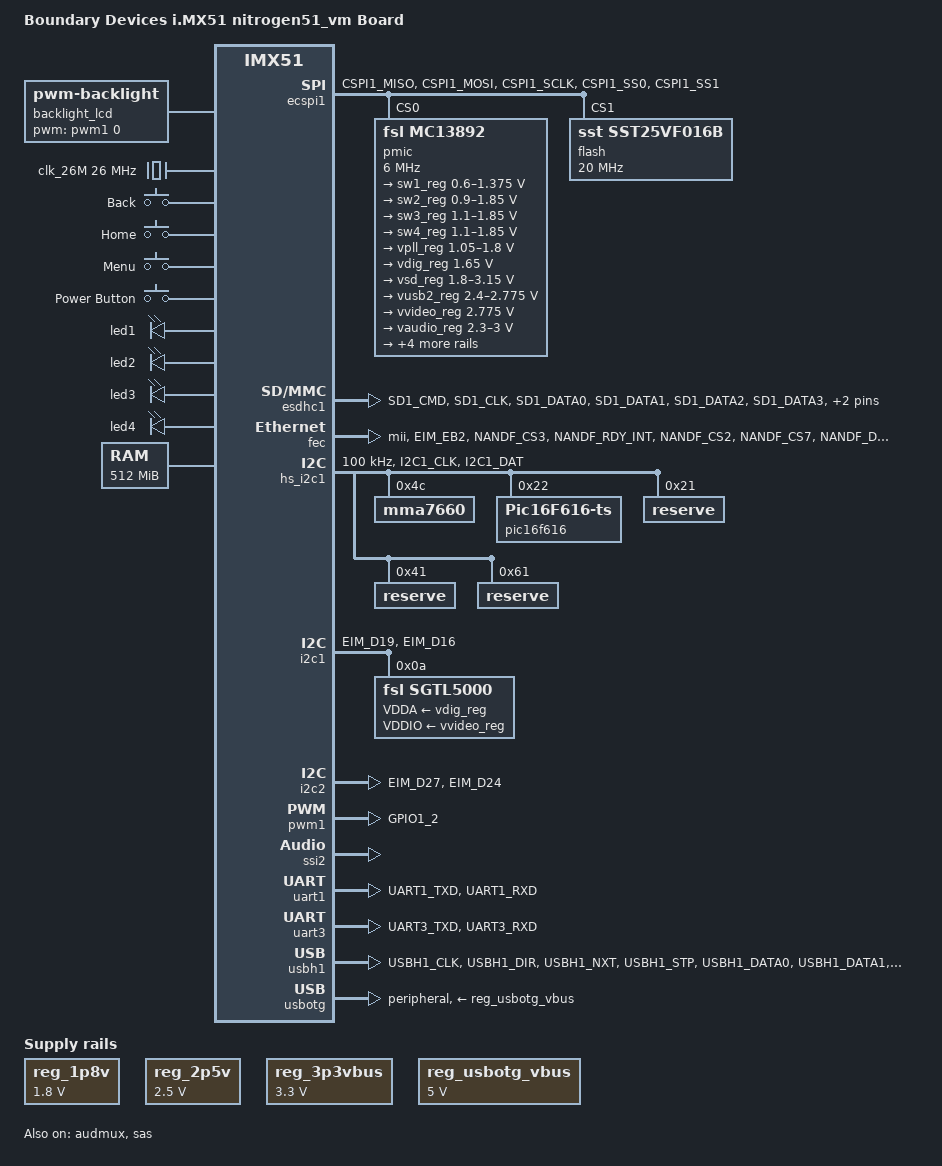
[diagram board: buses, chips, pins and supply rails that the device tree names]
/*
 * Copyright 2016 Boundary Devices
 *
 * The code contained herein is licensed under the GNU General Public
 * License. You may obtain a copy of the GNU General Public License
 * Version 2 or later at the following locations:
 *
 * http://www.opensource.org/licenses/gpl-license.html
 * http://www.gnu.org/copyleft/gpl.html
 */

/dts-v1/;
#include "imx51.dtsi"
#include <dt-bindings/clock/imx5-clock.h>
#include <dt-bindings/gpio/gpio.h>
#include <dt-bindings/input/input.h>
#include <dt-bindings/interrupt-controller/irq.h>

&iomuxc {
	pinctrl-names = "default";
	pinctrl-0 = <&pinctrl_hog>;

	iomuxc_imx6q_nitrogen51_vm: iomuxc-imx6q-nitrogen51-vmgrp {
		status = "okay";
	};
};

&iomuxc_imx6q_nitrogen51_vm {
	pinctrl_audmux: audmuxgrp {
		fsl,pins = <
			MX51_PAD_AUD3_BB_TXD__AUD3_TXD		0xa5
			MX51_PAD_AUD3_BB_RXD__AUD3_RXD		0xa5
			MX51_PAD_AUD3_BB_CK__AUD3_TXC		0xa5
			MX51_PAD_AUD3_BB_FS__AUD3_TXFS		0xa5
		>;
	};

	pinctrl_ecspi1: ecspi1grp {
		fsl,pins = <
			MX51_PAD_CSPI1_MISO__ECSPI1_MISO	0x185
			MX51_PAD_CSPI1_MOSI__ECSPI1_MOSI	0x185
			MX51_PAD_CSPI1_SCLK__ECSPI1_SCLK	0x185
#define GP_ECSPI1_PMIC		<&gpio4 24 GPIO_ACTIVE_HIGH>
			MX51_PAD_CSPI1_SS0__GPIO4_24		0xe5
#define GP_ECSPI1_FLASH		<&gpio4 25 GPIO_ACTIVE_LOW>
			MX51_PAD_CSPI1_SS1__GPIO4_25		0xe5
		>;
	};

	pinctrl_esdhc1: esdhc1grp {
		fsl,pins = <
			MX51_PAD_SD1_CMD__SD1_CMD		0x400020d5
			MX51_PAD_SD1_CLK__SD1_CLK		0x20d5
			MX51_PAD_SD1_DATA0__SD1_DATA0		0x20d5
			MX51_PAD_SD1_DATA1__SD1_DATA1		0x20d5
			MX51_PAD_SD1_DATA2__SD1_DATA2		0x20d5
			MX51_PAD_SD1_DATA3__SD1_DATA3		0x20d5
#define GP_ESDHC1_CD		<&gpio1 0 GPIO_ACTIVE_LOW>
			MX51_PAD_GPIO1_0__GPIO1_0		0x1e5
#define GP_ESDHC1_WP		<&gpio1 1 GPIO_ACTIVE_HIGH>
			MX51_PAD_GPIO1_1__GPIO1_1		0x1e5
		>;
	};

	pinctrl_esdhc2: esdhc2grp {
		fsl,pins = <
			MX51_PAD_SD2_CMD__SD2_CMD		0x400020d5
			MX51_PAD_SD2_CLK__SD2_CLK		0x20d5
			MX51_PAD_SD2_DATA0__SD2_DATA0		0x20d5
			MX51_PAD_SD2_DATA1__SD2_DATA1		0x20d5
			MX51_PAD_SD2_DATA2__SD2_DATA2		0x20d5
			MX51_PAD_SD2_DATA3__SD2_DATA3		0x20d5
			MX51_PAD_UART1_RTS__GPIO4_30		0x1e5	/* spare */
			MX51_PAD_UART1_CTS__GPIO4_31		0x1e5	/* sdio_int */
		>;
	};

	pinctrl_fec: fecgrp {
		fsl,pins = <
			MX51_PAD_EIM_EB2__FEC_MDIO		0x01f5
			MX51_PAD_NANDF_CS3__FEC_MDC		0x2004
			MX51_PAD_NANDF_RDY_INT__FEC_TX_CLK	0x2180
			MX51_PAD_NANDF_CS2__FEC_TX_ER		0x2004
			MX51_PAD_NANDF_CS7__FEC_TX_EN		0x2004
			MX51_PAD_NANDF_D8__FEC_TDATA0		0x2004
			MX51_PAD_NANDF_CS4__FEC_TDATA1		0x2004
			MX51_PAD_NANDF_CS5__FEC_TDATA2		0x2004
			MX51_PAD_NANDF_CS6__FEC_TDATA3		0x2004
			MX51_PAD_NANDF_RB3__FEC_RX_CLK		0x0180
			MX51_PAD_EIM_CS4__FEC_RX_ER		0x0180
			MX51_PAD_NANDF_D11__FEC_RX_DV		0x20a4
			MX51_PAD_EIM_CS5__FEC_CRS		0x0180
			MX51_PAD_NANDF_RB2__FEC_COL		0x0180
			MX51_PAD_NANDF_D9__FEC_RDATA0		0x2180
			MX51_PAD_EIM_EB3__FEC_RDATA1		0x0085
			MX51_PAD_EIM_CS2__FEC_RDATA2		0x0085
			MX51_PAD_EIM_CS3__FEC_RDATA3		0x0085
		>;
	};

	pinctrl_gpio_keys: gpiokeysgrp {
		fsl,pins = <
#define GP_GPIOKEYS_1		<&gpio3 3 GPIO_ACTIVE_LOW>
			MX51_PAD_NANDF_WE_B__GPIO3_3		0x1e5
#define GP_GPIOKEYS_2		<&gpio3 4 GPIO_ACTIVE_LOW>
			MX51_PAD_NANDF_RE_B__GPIO3_4		0x1e5
#define GP_GPIOKEYS_3		<&gpio1 4 GPIO_ACTIVE_LOW>
			MX51_PAD_GPIO1_4__GPIO1_4		0x1e5
#define GP_GPIOKEYS_4		<&gpio3 6 GPIO_ACTIVE_LOW>
			MX51_PAD_NANDF_CLE__GPIO3_6		0x1e5
		>;
	};

	pinctrl_gpio_leds: gpioledsgrp {
		fsl,pins = <
#define GP_GPIOLEDS_1		<&gpio3 7 GPIO_ACTIVE_LOW>
			MX51_PAD_NANDF_WP_B__GPIO3_7		0xe5
#define GP_GPIOLEDS_2		<&gpio3 8 GPIO_ACTIVE_LOW>
			MX51_PAD_NANDF_RB0__GPIO3_8		0xe5
#define GP_GPIOLEDS_3		<&gpio3 9 GPIO_ACTIVE_LOW>
			MX51_PAD_NANDF_RB1__GPIO3_9		0xe5
#define GP_GPIOLEDS_4		<&gpio3 16 GPIO_ACTIVE_LOW>
			MX51_PAD_NANDF_CS0__GPIO3_16		0xe5
		>;
	};

	pinctrl_hog: hoggrp {
		fsl,pins = <
#define GP_HOG_TP27	<&gpio3 17 GPIO_ACTIVE_LOW>
			MX51_PAD_NANDF_CS1__GPIO3_17		0x1e5
#define GP_ADC_TRIG	<&gpio4 13 GPIO_ACTIVE_HIGH>
			MX51_PAD_CSI2_VSYNC__GPIO4_13		0x1e5
		>;
	};

	pinctrl_hs_i2c1: hs-i2c1grp {
		fsl,pins = <
			MX51_PAD_I2C1_CLK__I2C1_CLK		0x400001ed
			MX51_PAD_I2C1_DAT__I2C1_DAT		0x400001ed
		>;
	};

	pinctrl_hs_i2c1_scl_gpio: hs-i2c1-scl-gpiogrp {
		fsl,pins = <
#define	GP_HS_I2C1_SCL <&gpio4 16 GPIO_ACTIVE_HIGH>
			MX51_PAD_I2C1_CLK__GPIO4_16		0x400001ed
		>;
	};

	pinctrl_hs_i2c1_sda_gpio: hs-i2c1-sda-gpiogrp {
		fsl,pins = <
#define	GP_HS_I2C1_SDA <&gpio4 17 GPIO_ACTIVE_HIGH>
			MX51_PAD_I2C1_DAT__GPIO4_17		0x400001ed
		>;
	};

	pinctrl_hs_i2c1_pic16f616: hs-i2c1-pic16f616grp {
		fsl,pins = <
#define GPIRQ_PIC16F616	<&gpio2 1 IRQ_TYPE_LEVEL_LOW>
#define GP_PIC16F616	<&gpio2 1 GPIO_ACTIVE_LOW>
			MX51_PAD_EIM_D17__GPIO2_1		0x85	/* No pullup option */
		>;
	};

	pinctrl_hs_i2c1_tfp410: hs-i2c1-tfp410grp {
		fsl,pins = <
#define GPIRQ_DVI	<&gpio3 28 IRQ_TYPE_EDGE_FALLING>
			MX51_PAD_NANDF_D12__GPIO3_28		0x1e5
#define GP_TFP410_I2C_SEL <&gpio3 5 GPIO_ACTIVE_HIGH>
			MX51_PAD_DISPB2_SER_DIN__GPIO3_5	0xc5
		>;
	};

	pinctrl_i2c1: i2c1grp {
		fsl,pins = <
			MX51_PAD_EIM_D19__I2C1_SCL		0x400001ed
			MX51_PAD_EIM_D16__I2C1_SDA		0x400001ed
		>;
	};

	pinctrl_i2c1_sgtl5000: i2c1-sgtl5000grp {
		fsl,pins = <
#define GP_SGTL5000_HP_MUTE	<&gpio2 17 GPIO_ACTIVE_LOW>
			MX51_PAD_EIM_A23__GPIO2_17		0xc5
		>;
	};

	pinctrl_i2c2: i2c2grp {
		fsl,pins = <
			MX51_PAD_EIM_D27__I2C2_SCL		0x400001ed
			MX51_PAD_EIM_D24__I2C2_SDA		0x400001ed
		>;
	};

	pinctrl_i2c2_ov5642: i2c2-ov5642grp { /* parallel camera */
		fsl,pins = <
			MX51_PAD_CSI1_D8__CSI1_D8			0x85
			MX51_PAD_CSI1_D9__CSI1_D9			0x85
			MX51_PAD_CSI1_D10__CSI1_D10			0x0
			MX51_PAD_CSI1_D11__CSI1_D11			0x0
			MX51_PAD_CSI1_D12__CSI1_D12			0x0
			MX51_PAD_CSI1_D13__CSI1_D13			0x0
			MX51_PAD_CSI1_D14__CSI1_D14			0x0
			MX51_PAD_CSI1_D15__CSI1_D15			0x0
			MX51_PAD_CSI1_D16__CSI1_D16			0x0
			MX51_PAD_CSI1_D17__CSI1_D17			0x0
			MX51_PAD_CSI1_D18__CSI1_D18			0x0
			MX51_PAD_CSI1_D19__CSI1_D19			0x0
			MX51_PAD_CSI1_PIXCLK__CSI1_PIXCLK		0x0
			MX51_PAD_CSI1_HSYNC__CSI1_HSYNC			0x0
			MX51_PAD_CSI1_VSYNC__CSI1_VSYNC			0x0
			MX51_PAD_CSI1_MCLK__CSI1_MCLK			0x85
			MX51_PAD_CSI2_D12__GPIO4_9			0x85
			MX51_PAD_CSI2_D13__GPIO4_10			0x85
#define GP_OV5642_RESET		<&gpio4 14 GPIO_ACTIVE_LOW>
			MX51_PAD_CSI2_HSYNC__GPIO4_14			0xe5
#define GP_OV5642_POWER_DOWN	<&gpio4 15 GPIO_ACTIVE_HIGH>
			MX51_PAD_CSI2_PIXCLK__GPIO4_15			0xe5
		>;
	};

	pinctrl_ipu_disp1: ipudisp1grp {
		fsl,pins = <
#if 0
			MX51_PAD_DI1_DISP_CLK__DI1_DISP_CLK	0x85
			MX51_PAD_DI1_PIN15__DI1_PIN15		0x5
#endif
			MX51_PAD_DI1_PIN2__DI1_PIN2		0x5
			MX51_PAD_DI1_PIN3__DI1_PIN3		0x5
			MX51_PAD_DISP1_DAT0__DISP1_DAT0		0x5
			MX51_PAD_DISP1_DAT1__DISP1_DAT1		0x5
			MX51_PAD_DISP1_DAT2__DISP1_DAT2		0x5
			MX51_PAD_DISP1_DAT3__DISP1_DAT3		0x5
			MX51_PAD_DISP1_DAT4__DISP1_DAT4		0x5
			MX51_PAD_DISP1_DAT5__DISP1_DAT5		0x5
			MX51_PAD_DISP1_DAT6__DISP1_DAT6		0x5
			MX51_PAD_DISP1_DAT7__DISP1_DAT7		0x5
			MX51_PAD_DISP1_DAT8__DISP1_DAT8		0x5
			MX51_PAD_DISP1_DAT9__DISP1_DAT9		0x5
			MX51_PAD_DISP1_DAT10__DISP1_DAT10	0x5
			MX51_PAD_DISP1_DAT11__DISP1_DAT11	0x5
			MX51_PAD_DISP1_DAT12__DISP1_DAT12	0x5
			MX51_PAD_DISP1_DAT13__DISP1_DAT13	0x5
			MX51_PAD_DISP1_DAT14__DISP1_DAT14	0x5
			MX51_PAD_DISP1_DAT15__DISP1_DAT15	0x5
			MX51_PAD_DISP1_DAT16__DISP1_DAT16	0x5
			MX51_PAD_DISP1_DAT17__DISP1_DAT17	0x5
			MX51_PAD_DISP1_DAT18__DISP1_DAT18	0x5
			MX51_PAD_DISP1_DAT19__DISP1_DAT19	0x5
			MX51_PAD_DISP1_DAT20__DISP1_DAT20	0x5
			MX51_PAD_DISP1_DAT21__DISP1_DAT21	0x5
			MX51_PAD_DISP1_DAT22__DISP1_DAT22	0x5
			MX51_PAD_DISP1_DAT23__DISP1_DAT23	0x5
		>;
	};

	pinctrl_ipu_disp2: ipudisp2grp {
		fsl,pins = <
			MX51_PAD_DI2_DISP_CLK__DI2_DISP_CLK	0x5
			MX51_PAD_DI_GP4__DI2_PIN15		0x5
			MX51_PAD_DISP2_DAT0__DISP2_DAT0		0x5
			MX51_PAD_DISP2_DAT1__DISP2_DAT1		0x5
			MX51_PAD_DISP2_DAT2__DISP2_DAT2		0x5
			MX51_PAD_DISP2_DAT3__DISP2_DAT3		0x5
			MX51_PAD_DISP2_DAT4__DISP2_DAT4		0x5
			MX51_PAD_DISP2_DAT5__DISP2_DAT5		0x5
			MX51_PAD_DISP2_DAT6__DISP2_DAT6		0x5
			MX51_PAD_DISP2_DAT7__DISP2_DAT7		0x5
			MX51_PAD_DISP2_DAT8__DISP2_DAT8		0x5
			MX51_PAD_DISP2_DAT9__DISP2_DAT9		0x5
			MX51_PAD_DISP2_DAT10__DISP2_DAT10	0x5
			MX51_PAD_DISP2_DAT11__DISP2_DAT11	0x5
			MX51_PAD_DISP2_DAT12__DISP2_DAT12	0x5
			MX51_PAD_DISP2_DAT13__DISP2_DAT13	0x5
			MX51_PAD_DISP2_DAT14__DISP2_DAT14	0x5
			MX51_PAD_DISP2_DAT15__DISP2_DAT15	0x5
		>;
	};

	pinctrl_pmic: pmicgrp {
		fsl,pins = <
#define GPIRQ_PMIC	<&gpio1 8 IRQ_TYPE_LEVEL_HIGH>
			MX51_PAD_GPIO1_8__GPIO1_8		0x1e5
		>;
	};

	pinctrl_pwm1: pwm1grp {
		fsl,pins = <
			MX51_PAD_GPIO1_2__PWM1_PWMO		0xc5
		>;
	};

	pinctrl_reg3p3v: reg3p3vgrp {
		fsl,pins = <
#define GP_REG3P3V_EN	<&gpio2 6 GPIO_ACTIVE_HIGH>
			MX51_PAD_EIM_D22__GPIO2_6		0x85
		>;
	};

	pinctrl_reg_usbotg: usbotggrp {
		fsl,pins = <
			MX51_PAD_EIM_D26__KEY_COL7		0xe5	/* high is off */
		>;
	};

	pinctrl_reg_usbotg_enable5v: usbotg-enable5vgrp {
		fsl,pins = <
			MX51_PAD_EIM_D26__KEY_COL7		0xc5	/* low is on */
		>;
	};

	pinctrl_uart1: uart1grp {
		fsl,pins = <
			MX51_PAD_UART1_TXD__UART1_TXD		0x1c5
			MX51_PAD_UART1_RXD__UART1_RXD		0x1c5
		>;
	};

	pinctrl_uart2: uart2grp {
		fsl,pins = <
			MX51_PAD_UART2_TXD__UART2_TXD		0x1c5
			MX51_PAD_UART2_RXD__UART2_RXD		0x1c5
		>;
	};

	pinctrl_uart3: uart3grp {
		fsl,pins = <
			MX51_PAD_UART3_TXD__UART3_TXD		0x1c5
			MX51_PAD_UART3_RXD__UART3_RXD		0x1c5
		>;
	};

	pinctrl_usbh1: usbh1grp {
		fsl,pins = <
			MX51_PAD_USBH1_CLK__USBH1_CLK		0x1e5
			MX51_PAD_USBH1_DIR__USBH1_DIR		0x1e5
			MX51_PAD_USBH1_NXT__USBH1_NXT		0x1e5
			MX51_PAD_USBH1_STP__USBH1_STP		0x1e5
			MX51_PAD_USBH1_DATA0__USBH1_DATA0	0x1e5
			MX51_PAD_USBH1_DATA1__USBH1_DATA1	0x1e5
			MX51_PAD_USBH1_DATA2__USBH1_DATA2	0x1e5
			MX51_PAD_USBH1_DATA3__USBH1_DATA3	0x1e5
			MX51_PAD_USBH1_DATA4__USBH1_DATA4	0x1e5
			MX51_PAD_USBH1_DATA5__USBH1_DATA5	0x1e5
			MX51_PAD_USBH1_DATA6__USBH1_DATA6	0x1e5
			MX51_PAD_USBH1_DATA7__USBH1_DATA7	0x1e5
#define GP_USBH1_RESET	<&gpio2 5 GPIO_ACTIVE_LOW>
			MX51_PAD_EIM_D21__GPIO2_5		0xc5
		>;
	};
};

/ {
	model = "Boundary Devices i.MX51 nitrogen51_vm Board";
	compatible = "fsl,imx51-nitrogen51_vm", "fsl,imx51";

/* #define USE_DRM */

	aliases {
		backlight_lcd = &backlight_lcd;
		fb_lcd = &fb_lcd;
		fb_lcd2 = &fb_lcd2;
#ifdef USE_DRM
		lcd = &fb_lcd;
		lcd2 = &fb_lcd2;
#else
		lcd = &lcd;
		lcd2 = &lcd2;
#endif
		mmc0 = &esdhc1;
		mmc1 = &esdhc2;
#ifndef USE_DRM
		mxcfb0 = &fb_lcd;
		mxcfb1 = &fb_lcd2;
#endif
		pwm_lcd = &pwm1;
#ifdef USE_DRM
		t_lcd = &lcd_timings;
		t_lcd2 = &lcd2_timings;
#endif
	};

	backlight_lcd: backlight_lcd {
		brightness-levels = <0 1 2 3 4 5 6 7 8 9 10>;
		compatible = "pwm-backlight";
		default-brightness-level = <8>;
		display = <&fb_lcd>, <&fb_lcd2>;
		pwms = <&pwm1 0 5000000>;
	};

	clocks {
		ckih1 {
			compatible = "fixed-clock";
			#clock-cells = <0>;
			clock-frequency = <22579200>;
		};

		clk_26M: codec_clock {
			compatible = "fixed-clock";
			#clock-cells = <0>;
			clock-frequency = <26000000>;
		};
	};

	fb_lcd: display@di0 {
#ifdef USE_DRM
		compatible = "fsl,imx-parallel-display";
		crtcs = <&ipu 0>;
		interface-pix-fmt = "rgb24";
		pinctrl-names = "default";
		pinctrl-0 = <&pinctrl_ipu_disp1>;
		display-timings {
			native-mode = <&lcd_timings>;
			lcd_timings: dvi {
				clock-frequency = <65000000>;
				hactive = <1024>;
				vactive = <768>;
				hback-porch = <220>;
				hfront-porch = <40>;
				vback-porch = <21>;
				vfront-porch = <7>;
				hsync-len = <60>;
				vsync-len = <10>;
			};
		};
#else
		compatible = "fsl,mxc_sdc_fb";
		disp_dev = "lcd";
		interface_pix_fmt = "RGB666";
		default_bpp = <16>;
		int_clk = <0>;
		late_init = <0>;
		status = "disabled";
#endif
	};

	fb_lcd2: display@di1 {
#ifdef USE_DRM
		compatible = "fsl,imx-parallel-display";
		crtcs = <&ipu 1>;
		interface-pix-fmt = "rgb565";
		pinctrl-names = "default";
		pinctrl-0 = <&pinctrl_ipu_disp2>;
		status = "disabled";
		display-timings {
			native-mode = <&lcd2_timings>;
			lcd2_timings: claawvga {
				clock-frequency = <27000000>;
				hactive = <800>;
				vactive = <480>;
				hback-porch = <40>;
				hfront-porch = <60>;
				vback-porch = <10>;
				vfront-porch = <10>;
				hsync-len = <20>;
				vsync-len = <10>;
				hsync-active = <0>;
				vsync-active = <0>;
				de-active = <1>;
				pixelclk-active = <0>;
			};
		};
#else
		compatible = "fsl,mxc_sdc_fb";
		disp_dev = "lcd";
		interface_pix_fmt = "RGB565";
		default_bpp = <16>;
		int_clk = <0>;
		late_init = <0>;
		status = "disabled";
#endif
	};

	gpio-keys {
		compatible = "gpio-keys";
		pinctrl-names = "default";
		pinctrl-0 = <&pinctrl_gpio_keys>;

		back {
			label = "Back";
			gpios = GP_GPIOKEYS_1;
			linux,code = <KEY_BACK>;
		};

		home {
			label = "Home";
			gpios = GP_GPIOKEYS_2;
			linux,code = <KEY_HOME>;
		};

		menu {
			label = "Menu";
			gpios = GP_GPIOKEYS_3;
			linux,code = <KEY_MENU>;
		};

		power {
			label = "Power Button";
			gpios = GP_GPIOKEYS_4;
			linux,code = <KEY_POWER>;
			gpio-key,wakeup;
		};

	};

	leds {
		compatible = "gpio-leds";
		pinctrl-names = "default";
		pinctrl-0 = <&pinctrl_gpio_leds>;

		led1 {
			label = "led1";
			gpios = GP_GPIOLEDS_1;
		};

		led2 {
			label = "led2";
			gpios = GP_GPIOLEDS_2;
		};

		led3 {
			label = "led3";
			gpios = GP_GPIOLEDS_3;
		};

		led4 {
			label = "led4";
			gpios = GP_GPIOLEDS_4;
		};
	};

#ifndef USE_DRM
	lcd: lcd@0 {
		compatible = "fsl,lcd";
		ipu_id = <0>;
		disp_id = <0>;
		default_ifmt = "RGB666";
		pinctrl-names = "default";
		pinctrl-0 = <&pinctrl_ipu_disp1>;
		status = "disabled";
	};
	lcd2: lcd@1 {
		compatible = "fsl,lcd";
		ipu_id = <0>;
		disp_id = <1>;
		default_ifmt = "RGB565";
		pinctrl-names = "default";
		pinctrl-0 = <&pinctrl_ipu_disp2>;
		status = "disabled";
	};
#endif
	memory {
		reg = <0x90000000 0x20000000>;
	};

	regulators {
		compatible = "simple-bus";
		#address-cells = <1>;
		#size-cells = <0>;

		reg_1p8v: regulator@0 {
			compatible = "regulator-fixed";
			reg = <0>;
			regulator-name = "1P8V";
			regulator-min-microvolt = <1800000>;
			regulator-max-microvolt = <1800000>;
			regulator-always-on;
		};

		reg_2p5v: regulator@1 {
			compatible = "regulator-fixed";
			reg = <1>;
			regulator-name = "2P5V";
			regulator-min-microvolt = <2500000>;
			regulator-max-microvolt = <2500000>;
			regulator-always-on;
		};

#if 1
		reg_3p3vbus: regulator@2 {
			compatible = "regulator-fixed";
			reg = <2>;
			pinctrl-names = "default";
			pinctrl-0 = <&pinctrl_reg3p3v>;
			regulator-name = "3P3V";
			regulator-min-microvolt = <3300000>;
			regulator-max-microvolt = <3300000>;
			gpio = GP_REG3P3V_EN;
			enable-active-high;
			regulator-always-on;
		};
#endif
		reg_usbotg_vbus: regulator@3 {
			compatible = "regulator-fixed";
			reg = <3>;
			pinctrl-names = "default", "disable", "enable";
			pinctrl-0 = <&pinctrl_reg_usbotg>;
			pinctrl-1 = <&pinctrl_reg_usbotg>;
			pinctrl-2 = <&pinctrl_reg_usbotg_enable5v>;
			regulator-name = "usbotg_vbus";
			regulator-min-microvolt = <5000000>;
			regulator-max-microvolt = <5000000>;
		};
	};

	sas: sas@73fc0000 {
		clocks = <&clks 30>, <&clks 31>;
		clock-names = "ipg", "per";
	        compatible = "boundary,imx51-sas";
		interrupt-parent = <&tzic>;
		interrupts = <32>;
		pinctrl-names = "default";
		pinctrl-0 = <&pinctrl_uart2>;
		reg = <0x73fc0000 0x4000>;
	};

	sas: sas@73fc0000 {
		clocks = <&clks 30>, <&clks 31>;
		clock-names = "ipg", "per";
	        compatible = "boundary,imx51-sas";
		interrupt-parent = <&tzic>;
		interrupts = <32>;
		pinctrl-names = "default";
		pinctrl-0 = <&pinctrl_uart2>;
		reg = <0x73fc0000 0x4000>;
	};

	sound {
		compatible = "fsl,imx51-nitrogen51_vm-sgtl5000",
			     "fsl,imx-audio-sgtl5000";
		model = "imx51-nitrogen51_vm-sgtl5000";
		ssi-controller = <&ssi2>;
		audio-codec = <&sgtl5000>;
		audio-routing =
			"MIC_IN", "Mic Jack",
			"Mic Jack", "Mic Bias",
			"Headphone Jack", "HP_OUT";
		mux-int-port = <2>;
		mux-ext-port = <3>;
		mute-gpios = GP_SGTL5000_HP_MUTE;
	};
};

&audmux {
	pinctrl-names = "default";
	pinctrl-0 = <&pinctrl_audmux>;
	status = "okay";
};

&ecspi1 {
	pinctrl-names = "default";
	pinctrl-0 = <&pinctrl_ecspi1>;
	fsl,spi-num-chipselects = <2>;
	cs-gpios = GP_ECSPI1_PMIC, GP_ECSPI1_FLASH;
	status = "okay";

	pmic: mc13892@0 {
		#address-cells = <1>;
		#size-cells = <0>;
		compatible = "fsl,mc13892";
		spi-max-frequency = <6000000>;
		spi-cs-high;
		reg = <0>;
		interrupts-extended = GPIRQ_PMIC;
		fsl,mc13xxx-uses-touch;
		pinctrl-names = "default";
		pinctrl-0 = <&pinctrl_pmic>;
		

		regulators {
			sw1_reg: sw1 {
				regulator-min-microvolt = <600000>;
				regulator-max-microvolt = <1375000>;
				regulator-boot-on;
				regulator-always-on;
			};

			sw2_reg: sw2 {
				regulator-min-microvolt = <900000>;
				regulator-max-microvolt = <1850000>;
				regulator-boot-on;
				regulator-always-on;
			};

			sw3_reg: sw3 {
				regulator-min-microvolt = <1100000>;
				regulator-max-microvolt = <1850000>;
				regulator-boot-on;
				regulator-always-on;
			};

			sw4_reg: sw4 {
				regulator-min-microvolt = <1100000>;
				regulator-max-microvolt = <1850000>;
				regulator-boot-on;
				regulator-always-on;
			};

			vpll_reg: vpll {
				regulator-min-microvolt = <1050000>;
				regulator-max-microvolt = <1800000>;
				regulator-boot-on;
				regulator-always-on;
			};

			vdig_reg: vdig {
				regulator-min-microvolt = <1650000>;
				regulator-max-microvolt = <1650000>;
				regulator-boot-on;
			};

			vsd_reg: vsd {
				regulator-min-microvolt = <1800000>;
				regulator-max-microvolt = <3150000>;
			};

			vusb2_reg: vusb2 {
				regulator-min-microvolt = <2400000>;
				regulator-max-microvolt = <2775000>;
				regulator-boot-on;
				regulator-always-on;
			};

			vvideo_reg: vvideo {
				regulator-min-microvolt = <2775000>;
				regulator-max-microvolt = <2775000>;
			};

			vaudio_reg: vaudio {
				regulator-min-microvolt = <2300000>;
				regulator-max-microvolt = <3000000>;
			};

			vcam_reg: vcam {
				regulator-min-microvolt = <2500000>;
				regulator-max-microvolt = <3000000>;
			};

			vgen1_reg: vgen1 {
				regulator-min-microvolt = <1200000>;
				regulator-max-microvolt = <1200000>;
			};

			vgen2_reg: vgen2 {
				regulator-min-microvolt = <1200000>;
				regulator-max-microvolt = <3150000>;
				regulator-always-on;
			};

			vgen3_reg: vgen3 {
				regulator-min-microvolt = <1800000>;
				regulator-max-microvolt = <2900000>;
				regulator-always-on;
			};
		};
	};

	flash: m25p80@1 {
		compatible = "sst,sst25vf016b";
		spi-max-frequency = <20000000>;
		reg = <1>;
		#address-cells = <1>;
		#size-cells = <1>;
		mtd@00000000 {
			label = "U-Boot";
			reg = <0x0 0xC0000>;
		};

		mtd@000C0000 {
			label = "env";
			reg = <0xC0000 0x2000>;
		};
		mtd@000C2000 {
			label = "splash";
			reg = <0xC2000 0x13e000>;
		};
	};
};

&esdhc1 {
	pinctrl-names = "default";
	pinctrl-0 = <&pinctrl_esdhc1>;
	cd-gpios = GP_ESDHC1_CD;
	wp-gpios = GP_ESDHC1_WP;
	status = "okay";
};

&esdhc2 {
	pinctrl-names = "default";
	pinctrl-0 = <&pinctrl_esdhc2>;
	status = "disabled";
};

&fec {
	pinctrl-names = "default";
	pinctrl-0 = <&pinctrl_fec>;
	phy-mode = "mii";
	status = "okay";
};

&hs_i2c1 {
	clock-frequency = <100000>;
	pinctrl-names = "default", "scl-gpio", "sda-gpio";
	pinctrl-0 = <&pinctrl_hs_i2c1>;
	pinctrl-1 = <&pinctrl_hs_i2c1_scl_gpio>;
	pinctrl-2 = <&pinctrl_hs_i2c1_sda_gpio>;
	scl-gpios = GP_HS_I2C1_SCL;
	sda-gpios = GP_HS_I2C1_SDA;
	status = "okay";
	
	mma7660: mma7660@4c {
		compatible = "mma7660";
		reg = <0x4c>;
	};

	pic16f616: pic16f616@22 {
		compatible = "Pic16F616-ts";
		interrupts-extended = GPIRQ_PIC16F616;
		pinctrl-names = "default";
		pinctrl-0 = <&pinctrl_hs_i2c1_pic16f616>;
		reg = <0x22>;
		wakeup-gpios = GP_PIC16F616;
	};

	/* hs i2c should not use addresses 0x01,0x21,0x41,0x61 */
	reserve@21 {
		compatible = "reserve";
		reg = <0x21>;
	};

	reserve@41 {
		compatible = "reserve";
		reg = <0x41>;
	};

	reserve@61 {
		compatible = "reserve";
		reg = <0x61>;
	};
#if 0
	tfp410: tfp410@38 {
		compatible = "tfp410";
		display_id = "???lcdif2";
		i2c_sel-gpios = GP_TFP410_I2C_SEL;
		interrupts-extended = GPIRQ_DVI;
		pinctrl-names = "default";
		pinctrl-0 = <&pinctrl_hs_i2c1_tfp410>;
		reg = <0x38>;
	};
#endif
};

&i2c1 {
	pinctrl-names = "default";
	pinctrl-0 = <&pinctrl_i2c1>;
	status = "okay";

	sgtl5000: sgtl5000@0a {
		compatible = "fsl,sgtl5000";
		pinctrl-names = "default";
		pinctrl-0 = <&pinctrl_i2c1_sgtl5000>;
		reg = <0x0a>;
		clocks = <&clk_26M>;
		VDDA-supply = <&vdig_reg>;
		VDDIO-supply = <&vvideo_reg>;
	};
};

&i2c2 {
	pinctrl-names = "default";
	pinctrl-0 = <&pinctrl_i2c2>;
	status = "okay";
#if 0
	ov5642: ov5642@3c {
		compatible = "ovti,ov5642";
		reg = <0x3c>;
		pinctrl-names = "default";
		pinctrl-0 = <&pinctrl_i2c2_ov5642>;
		DOVDD-supply = <&reg_1p8v>;
		AVDD-supply = <&reg_2p5v>;
		DVDD-supply = <&reg_1p8v>;
		pwn-gpios = GP_OV5642_POWER_DOWN;
		rst-gpios = GP_OV5642_RESET;
		ipu_id = <0>;
		csi_id = <0>;
		mclk = <24000000>;
		mclk_source = <0>;
	};
#endif
};

&pwm1 {
	pinctrl-names = "default";
	pinctrl-0 = <&pinctrl_pwm1>;
	status = "okay";
};

&sas {
        baud = <19200>;
        flush_on_mark = <0>;
        interbyte_delay = <5>;
        maxtxmsg = <512>;
        rxbufsize = <4096>;
        status = "okay";
        txbufsize = <4096>;
};

&ssi2 {
	fsl,mode = "i2s-slave";
	status = "okay";
};

&uart1 {
	pinctrl-names = "default";
	pinctrl-0 = <&pinctrl_uart1>;
	status = "okay";
};

&uart3 {
	pinctrl-names = "default";
	pinctrl-0 = <&pinctrl_uart3>;
	status = "okay";
};

&usbh1 {
	fsl,usbphy = <&usbphy0>;
	phy_type = "ulpi";
	pinctrl-names = "default";
	pinctrl-0 = <&pinctrl_usbh1>;
	reset-gpios = GP_USBH1_RESET;
	status = "okay";
};

&usbotg {
	dr_mode = "peripheral";
	disable-over-current;
	phy_type = "utmi_wide";
	vbus-supply = <&reg_usbotg_vbus>;
	status = "okay";
};
